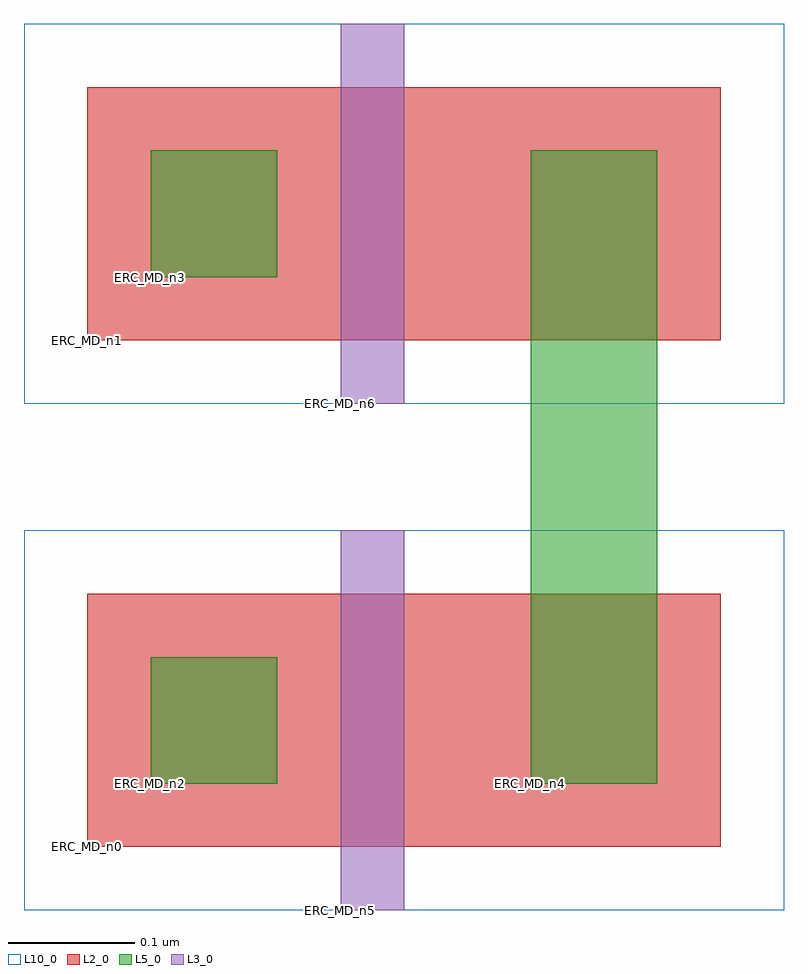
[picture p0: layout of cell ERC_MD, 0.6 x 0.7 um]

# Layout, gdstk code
import gdstk
lib = gdstk.Library(unit=1e-6, precision=1e-09)
def R(c, l, rs):  # rectangles x0, y0, x1, y1
    for r in rs: c.add(gdstk.rectangle(r[:2], r[2:], *l))
L2_0 = (2, 0)
L3_0 = (3, 0)
L5_0 = (5, 0)
L10_0 = (10, 0)

erc_md = lib.new_cell('ERC_MD')
R(erc_md, L2_0, [(0,0,0.5,0.2), (0,0.4,0.5,0.6)])
R(erc_md, L3_0, [(0.2,-0.05,0.25,0.25), (0.2,0.35,0.25,0.65)])
R(erc_md, L5_0, [(0.05,0.05,0.15,0.15), (0.35,0.05,0.45,0.55), (0.05,0.45,0.15,0.55)])
R(erc_md, L10_0, [(-0.05,-0.05,0.55,0.25), (-0.05,0.35,0.55,0.65)])
erc_md.add(gdstk.Label('ERC_MD_n0', (0,0), layer=2, texttype=5))
erc_md.add(gdstk.Label('ERC_MD_n1', (0,0.4), layer=2, texttype=5))
erc_md.add(gdstk.Label('ERC_MD_n2', (0.05,0.05), layer=5, texttype=5))
erc_md.add(gdstk.Label('ERC_MD_n3', (0.05,0.45), layer=5, texttype=5))
erc_md.add(gdstk.Label('ERC_MD_n4', (0.35,0.05), layer=5, texttype=5))
erc_md.add(gdstk.Label('ERC_MD_n5', (0.2,-0.05), layer=3, texttype=5))
erc_md.add(gdstk.Label('ERC_MD_n6', (0.2,0.35), layer=3, texttype=5))

lib.write_gds('ERC_MD.gds')
